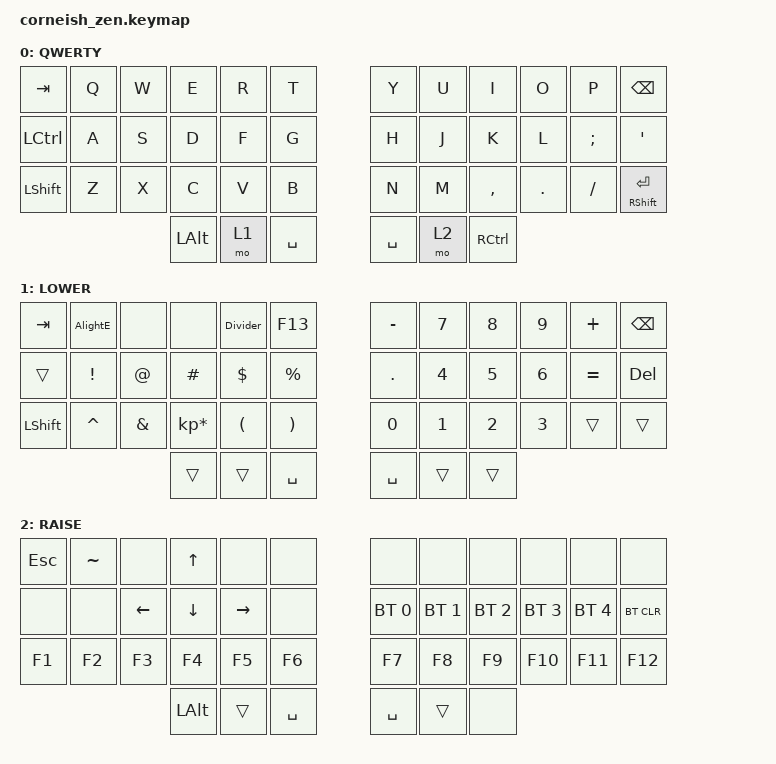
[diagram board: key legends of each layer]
#include <behaviors.dtsi>
#include <dt-bindings/zmk/bt.h>
#include <dt-bindings/zmk/keys.h>

/ {
    chosen {
        zmk,matrix_transform = &default_transform;

        //zmk,matrix_transform = &five_column_transform;
    };
};

/ {
    macros {
        Divider: Divider {
            compatible = "zmk,behavior-macro";
            #binding-cells = <0>;
            bindings = <&kp MINUS &kp MINUS &kp MINUS &kp MINUS &kp MINUS &kp MINUS &kp MINUS &kp MINUS &kp MINUS &kp MINUS>;
            label = "DIVIDER";
        };

        AlightE: AlightE {
            compatible = "zmk,behavior-macro";
            #binding-cells = <0>;
            bindings = <&kp D &kp A &kp V &kp I &kp D &kp DOT &kp T &kp E &kp A &kp N &kp O &kp AT &kp A &kp L &kp I &kp G &kp H &kp T &kp DOT &kp C &kp O &kp M>;
            label = "ALIGHTE";
        };
    };

    keymap {
        compatible = "zmk,keymap";

        default_layer {
            label = "QWERTY";

            // -----------------------------------------------------------------------------------------
            // |  TAB |  Q  |  W  |  E  |  R  |  T  |   |  Y  |  U   |  I  |  O  |  P  | BKSP |
            // | CTRL |  A  |  S  |  D  |  F  |  G  |   |  H  |  J   |  K  |  L  |  ;  |  '   |
            // | SHFT |  Z  |  X  |  C  |  V  |  B  |   |  N  |  M   |  ,  |  .  |  /  | ENT  |
            //                    | ALT | LWR | SPC |   | SPC | RSE  | CTRL |

            bindings = <
&kp TAB    &kp Q  &kp W  &kp E     &kp R  &kp T        &kp Y      &kp U  &kp I      &kp O    &kp P     &kp BSPC
&kp LCTRL  &kp A  &kp S  &kp D     &kp F  &kp G        &kp H      &kp J  &kp K      &kp L    &kp SEMI  &kp SQT
&kp LSHFT  &kp Z  &kp X  &kp C     &kp V  &kp B        &kp N      &kp M  &kp COMMA  &kp DOT  &kp FSLH  &mt RSHFT RETURN
                         &kp LALT  &mo 1  &kp SPACE    &kp SPACE  &mo 2  &kp RCTRL
            >;
        };

        lower_layer {
            label = "LOWER";

            // -----------------------------------------------------------------------------------------
            // |  TAB |     |     |     |     |     |   |  -  |  7  |  8  |  9  |  +  | BKSP |
            // | CTRL |  !  |  @  |  #  |  $  |  %  |   |  .  |  4  |  5  |  6  |  =  | DEL  |
            // | SHFT |  ^  |  &  |  *  |  (  |  )  |   |  0  |  1  |  2  |  3  |     |      |
            //                    | ALT |     | ENT |   |BKSP |     | CTRL |

            bindings = <
&kp TAB    &AlightE   &none     &none            &Divider  &kp F13      &kp MINUS     &kp NUMBER_7  &kp NUMBER_8  &kp NUMBER_9  &kp PLUS   &kp BACKSPACE
&trans     &kp EXCL   &kp AT    &kp HASH         &kp DLLR  &kp PRCNT    &kp DOT       &kp NUMBER_4  &kp NUMBER_5  &kp NUMBER_6  &kp EQUAL  &kp DEL
&kp LSHFT  &kp CARET  &kp AMPS  &kp KP_MULTIPLY  &kp LPAR  &kp RPAR     &kp NUMBER_0  &kp NUMBER_1  &kp NUMBER_2  &kp NUMBER_3  &trans     &trans
                                &trans           &trans    &kp SPACE    &kp SPACE     &trans        &trans
            >;
        };

        raise_layer {
            label = "RAISE";

            // -----------------------------------------------------------------------------------------
            // |  ~   |     |     |  UP  |     |     |   |     |     |     |     |     |       |
            // | CAPS |     | LFT | DOWN | RGT |     |   | BT1 | BT2 | BT3 | BT4 | BT5 | BTCLR |
            // |  F1  | F2  | F3  |  F4  | F5  | F6  |   | F7  | F8  | F9  | F10 | F11 |  F12  |
            //                    | ALT  |     | SPC |   | SPC |     |     |

            bindings = <
&kp ESCAPE  &kp TILDE  &none     &kp UP    &none      &none        &none         &none         &none         &none         &none         &none
&none       &none      &kp LEFT  &kp DOWN  &kp RIGHT  &none        &bt BT_SEL 0  &bt BT_SEL 1  &bt BT_SEL 2  &bt BT_SEL 3  &bt BT_SEL 4  &bt BT_CLR
&kp F1      &kp F2     &kp F3    &kp F4    &kp F5     &kp F6       &kp F7        &kp F8        &kp F9        &kp F10       &kp F11       &kp F12
                                 &kp LALT  &trans     &kp SPACE    &kp SPACE     &trans        &none
            >;
        };
    };
};
